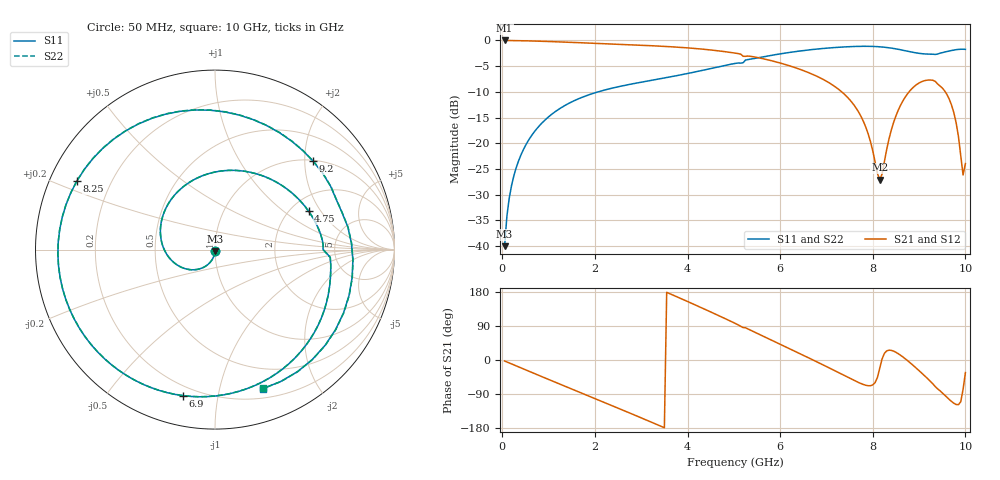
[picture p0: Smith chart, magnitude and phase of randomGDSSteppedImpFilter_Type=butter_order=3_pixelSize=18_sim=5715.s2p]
! freq	dB(S11)	phase(S11)	dB(S12)	phase(S12)
!  dB(S21)	phase(S21)	dB(S22)	phase(S22)
!S-par simulation data
#  GHz  S  DB  R 50
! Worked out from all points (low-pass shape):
!   200 points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, 50 MHz to 10 GHz, reference 50 ohm
!   highest |S21| = -0.01 dB at 50 MHz (marker M1); lowest = -27.1 dB at 8.15 GHz (marker M2)
!   |S21| within 3 dB of the highest: start of sweep to 5.191 GHz
!   lowest |S11| = -40.0 dB at 50 MHz (marker M3), VSWR 1.02, Z = 50 - j1 ohm
!   |S11| at or under -10 dB: start of sweep to 2.068 GHz
!   |S22| runs from -40.0 to -1.1 dB; largest |S21 - S12| = 0
!   S11 on the Smith chart (normalised r, x): 50 MHz: 1.00, -0.02; 4.75 GHz: 2.48, +1.56; 6.9 GHz: 0.15, -0.79; 8.25 GHz: 0.08, +0.23; 9.2 GHz: 1.03, +2.20; 10 GHz: 0.29, -1.36
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0.05  -39.99 -91.3  -0.01 -2.6  -0.01 -2.6  -39.99 -91.3
0.2  -28.20 -100.4  -0.02 -10.4  -0.02 -10.4  -28.20 -100.4
0.5  -20.44 -116.3  -0.07 -25.8  -0.07 -25.8  -20.44 -116.3
1.75  -10.96 179.9  -0.47 -89.2  -0.47 -89.2  -10.96 179.9
2.5  -9.01 142.1  -0.75 -127.1  -0.75 -127.1  -9.01 142.1
3.4  -7.47 95.7  -1.11 -173.5  -1.11 -173.5  -7.47 95.6
4  -6.43 63.7  -1.45 154.4  -1.45 154.4  -6.43 63.6
4.75  -4.98 22.3  -2.12 112.8  -2.12 112.8  -4.98 22.2
5.05  -4.44 5.4  -2.49 95.4  -2.49 95.4  -4.44 5.2
5.85  -2.84 -40.0  -4.03 50.2  -4.03 50.2  -2.84 -40.2
6.7  -1.77 -90.0  -6.59 0.6  -6.59 0.6  -1.77 -90.3
6.9  -1.59 -102.3  -7.44 -11.3  -7.44 -11.3  -1.59 -102.7
7.7  -1.15 -157.6  -14.02 -59.8  -14.02 -59.8  -1.15 -158.0
8.15  -1.24 163.4  -27.08 -22.5  -27.08 -22.5  -1.24 162.9
8.25  -1.32 153.6  -23.60 17.4  -23.60 17.4  -1.32 153.0
8.35  -1.43 143.3  -19.16 26.0  -19.16 26.0  -1.43 142.8
8.75  -2.09 98.2  -10.38 -1.5  -10.38 -1.5  -2.09 97.7
9.2  -2.66 41.9  -7.70 -51.0  -7.70 -51.0  -2.65 41.6
9.65  -2.06 -18.8  -11.39 -103.9  -11.39 -103.9  -2.05 -18.8
9.8  -1.80 -41.0  -16.00 -117.4  -16.00 -117.4  -1.79 -40.8
9.95  -1.71 -63.6  -26.16 -77.5  -26.16 -77.5  -1.71 -63.3
10  -1.73 -71.1  -23.94 -33.3  -23.94 -33.3  -1.73 -70.8
